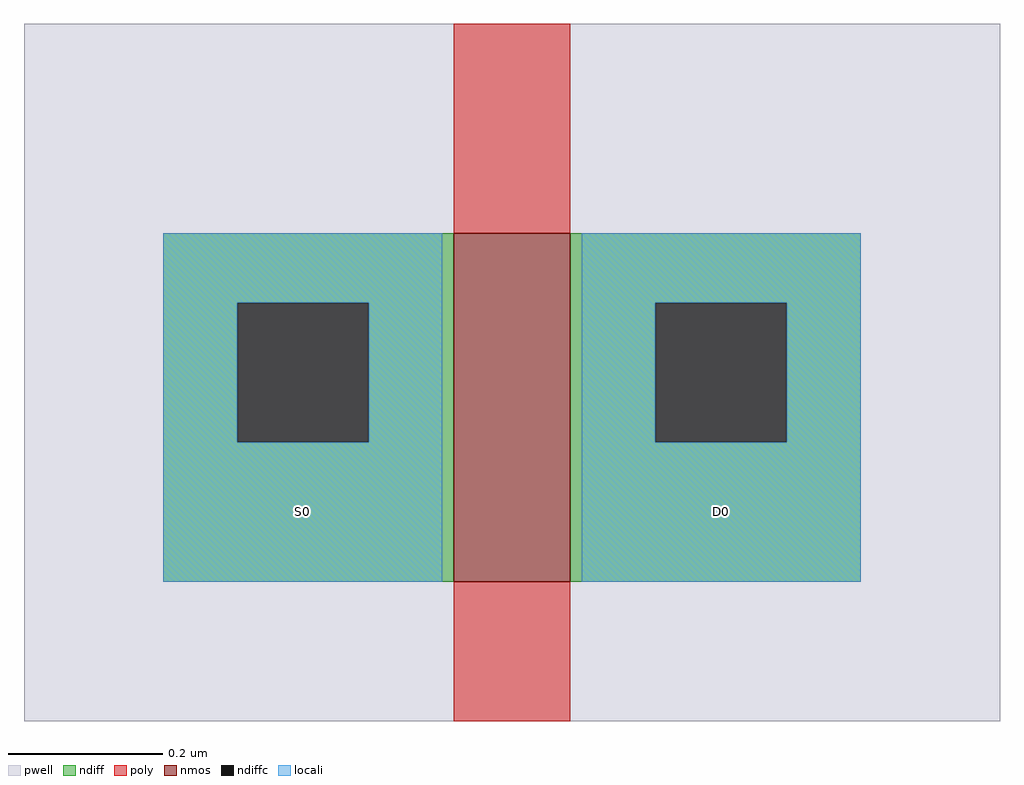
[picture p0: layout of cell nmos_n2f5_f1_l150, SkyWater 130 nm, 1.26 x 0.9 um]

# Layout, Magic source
magic
tech sky130A
magscale 1 2
<< pwell >>
rect -72 -36 180 144
<< nmos >>
rect 39 0 69 90
<< ndiff >>
rect -36 72 39 90
rect -36 36 -17 72
rect 17 36 39 72
rect -36 0 39 36
rect 69 72 144 90
rect 69 36 91 72
rect 125 36 144 72
rect 69 0 144 36
<< ndiffc >>
rect -17 36 17 72
rect 91 36 125 72
<< poly >>
rect 39 90 69 144
rect 39 -36 69 0
<< locali >>
rect -36 72 36 90
rect -36 36 -17 72
rect 17 36 36 72
rect -36 0 36 36
rect 72 72 144 90
rect 72 36 91 72
rect 125 36 144 72
rect 72 0 144 36
<< labels >>
rlabel locali 0 18 0 18 0 S0
port 1 nsew
rlabel locali 108 18 108 18 0 D0
port 2 nsew
<< end >>
